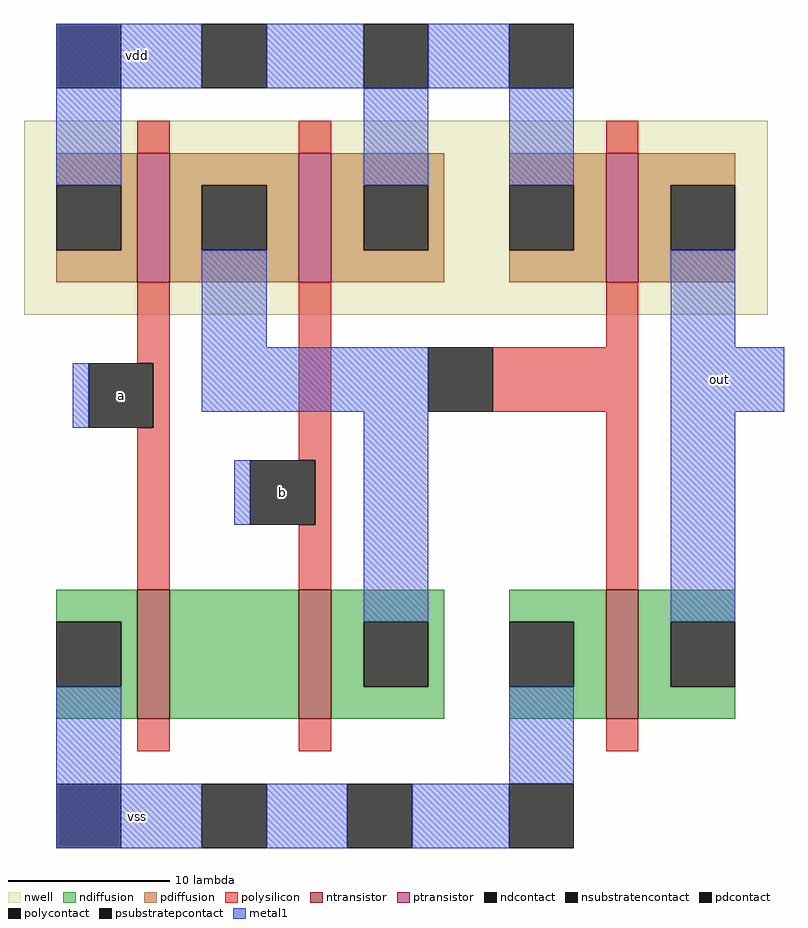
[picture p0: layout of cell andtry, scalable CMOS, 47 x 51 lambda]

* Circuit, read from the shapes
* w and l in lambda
.subckt andtry a b out vdd vss
M1 n1 a vss vss nfet w=8 l=2
M2 n2 b n1 vss nfet w=8 l=2
M3 out n2 vss vss nfet w=8 l=2
M4 n2 a vdd n3 pfet w=8 l=2
M5 vdd b n2 n3 pfet w=8 l=2
M6 out n2 vdd n3 pfet w=8 l=2
.ends

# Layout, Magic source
magic
tech scmos
<< nwell >>
rect -9 -1 37 11
<< polysilicon >>
rect -2 9 0 11
rect 8 9 10 11
rect 27 9 29 11
rect -2 -4 0 1
rect -1 -8 0 -4
rect -2 -18 0 -8
rect 8 -10 10 1
rect 27 -3 29 1
rect 20 -7 29 -3
rect 9 -14 10 -10
rect 8 -18 10 -14
rect 27 -18 29 -7
rect -2 -28 0 -26
rect 8 -28 10 -26
rect 27 -28 29 -26
<< ndiffusion >>
rect -7 -20 -2 -18
rect -3 -24 -2 -20
rect -7 -26 -2 -24
rect 0 -26 8 -18
rect 10 -20 17 -18
rect 10 -24 12 -20
rect 16 -24 17 -20
rect 10 -26 17 -24
rect 21 -20 27 -18
rect 25 -24 27 -20
rect 21 -26 27 -24
rect 29 -20 35 -18
rect 29 -24 31 -20
rect 29 -26 35 -24
<< pdiffusion >>
rect -7 7 -2 9
rect -3 3 -2 7
rect -7 1 -2 3
rect 0 7 8 9
rect 0 3 2 7
rect 6 3 8 7
rect 0 1 8 3
rect 10 7 17 9
rect 10 3 12 7
rect 16 3 17 7
rect 10 1 17 3
rect 21 7 27 9
rect 25 3 27 7
rect 21 1 27 3
rect 29 7 35 9
rect 29 3 31 7
rect 29 1 35 3
<< metal1 >>
rect -7 13 2 17
rect 6 13 12 17
rect 16 13 21 17
rect -7 7 -3 13
rect 12 7 16 13
rect 21 7 25 13
rect 2 -3 6 3
rect 31 -3 35 3
rect -6 -8 -5 -4
rect 2 -7 16 -3
rect 31 -7 38 -3
rect 4 -14 5 -10
rect 12 -20 16 -7
rect 31 -20 35 -7
rect -7 -30 -3 -24
rect 21 -30 25 -24
rect -7 -34 2 -30
rect 6 -34 11 -30
rect 15 -34 21 -30
<< ntransistor >>
rect -2 -26 0 -18
rect 8 -26 10 -18
rect 27 -26 29 -18
<< ptransistor >>
rect -2 1 0 9
rect 8 1 10 9
rect 27 1 29 9
<< polycontact >>
rect -5 -8 -1 -4
rect 16 -7 20 -3
rect 5 -14 9 -10
<< ndcontact >>
rect -7 -24 -3 -20
rect 12 -24 16 -20
rect 21 -24 25 -20
rect 31 -24 35 -20
<< pdcontact >>
rect -7 3 -3 7
rect 2 3 6 7
rect 12 3 16 7
rect 21 3 25 7
rect 31 3 35 7
<< psubstratepcontact >>
rect -7 -34 -3 -30
rect 2 -34 6 -30
rect 11 -34 15 -30
rect 21 -34 25 -30
<< nsubstratencontact >>
rect -7 13 -3 17
rect 2 13 6 17
rect 12 13 16 17
rect 21 13 25 17
<< labels >>
rlabel metal1 -2 15 -2 15 5 vdd
rlabel metal1 -2 -32 -2 -32 1 vss
rlabel polycontact -3 -6 -3 -6 1 a
rlabel metal1 34 -5 34 -5 7 out
rlabel polycontact 7 -12 7 -12 1 b
<< end >>
